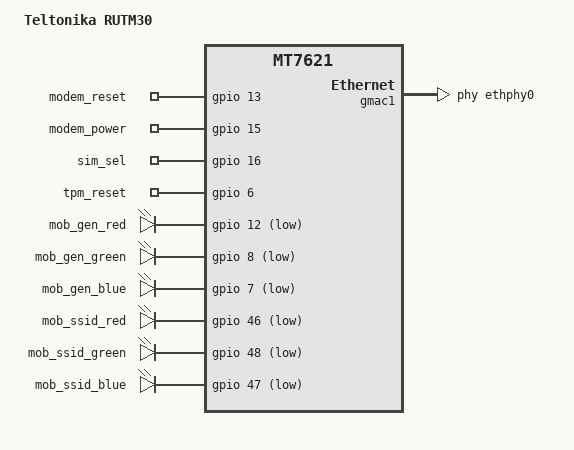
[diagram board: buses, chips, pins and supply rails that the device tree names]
#include "common-mt7621/rutm.dtsi"
#include "common-mt7621/eth/1-lan-port.dtsi"
#include "common-mt7621/tpm.dtsi"

// PWR, RST |G0|G10|
// IN, OUT  |G5|G9|G14|G17|
// ETH      |G41|G42|G43|G45|
// 4G		|G7|G8|G12|G13|G15|G16|G46-G48|
// MISC     |G6|
/ {
	model = "Teltonika RUTM30";

	gpio-export {
		compatible = "gpio-export";
		#size-cells = <0>;

		gpio_modem_reset {
			gpio-export,name = "modem_reset";
			gpio-export,output = <0>;
			gpios = <&gpio 13 GPIO_ACTIVE_HIGH>;
		};

		gpio_modem_power {
			gpio-export,name = "modem_power";
			gpio-export,output = <1>; // tmp
			gpios = <&gpio 15 GPIO_ACTIVE_HIGH>;
		};

		gpio_sim_select {
			gpio-export,name = "sim_sel";
			gpio-export,output = <0>;
			gpios = <&gpio 16 GPIO_ACTIVE_HIGH>;
		};

		gpio_tpm_reset {
			gpio-export,name = "tpm_reset";
			gpio-export,output = <1>;
			gpios = <&gpio 6 GPIO_ACTIVE_HIGH>;
		};
	};

	leds {
		led_gen_red {
			label = "mob_gen_red";
			gpios = <&gpio 12 GPIO_ACTIVE_LOW>;
		};

		led_gen_green {
			label = "mob_gen_green";
			gpios = <&gpio 8 GPIO_ACTIVE_LOW>;
		};

		led_gen_blue {
			label = "mob_gen_blue";
			gpios = <&gpio 7 GPIO_ACTIVE_LOW>;
		};

		led_ssid_red {
			label = "mob_ssid_red";
			gpios = <&gpio 46 GPIO_ACTIVE_LOW>;
			linux,default-trigger = "timer";
		};

		led_ssid_green {
			label = "mob_ssid_green";
			gpios = <&gpio 48 GPIO_ACTIVE_LOW>;
			linux,default-trigger = "timer";
		};

		led_ssid_blue {
			label = "mob_ssid_blue";
			gpios = <&gpio 47 GPIO_ACTIVE_LOW>;
			linux,default-trigger = "timer";
		};
	};

	tlt_gpios {
		gpiochip_info {
			hw_0 {
				gpiochip_count = <3>;
				/delete-property/ gpiochip_3;
			};
		};

		ioman {
			GPIO_5 {
				line_name = "GPIO_OUT_1";
			};
			GPIO_14 {
				line_name = "GPIO_IN_1";
				active_low;
			};
			GPIO_9 {
				line_name = "GPIO_OUT_2";
			};
			GPIO_17 {
				line_name = "GPIO_IN_2";
				active_low;
			};
		};

		misc {
			GPIO_13 {
				line_name = "GPIO_MODEM_RESET_1";
			};
			GPIO_15 {
				line_name = "GPIO_MODEM_POWER_1";
			};
			GPIO_16 {
				line_name = "GPIO_SIM_SELECT";
			};
			GPIO_6 {
				line_name = "GPIO_TPM_RESET";
			};
		};
	};

	ioman {
		layout@0 {
			io@0 { // 4pin #3
				label = "dio0";
				block_type = BLOCK_4PIN;
				block_pin = "3";
				default_direction = "out";
				gpio_in = "GPIO_IN_1";
				gpio_out = "GPIO_OUT_1";
				io_param = "g0";
			};
			io@1 { // 4pin #4
				label = "dio1";
				block_type = BLOCK_4PIN;
				block_pin = "4";
				default_direction = "in";
				gpio_in = "GPIO_IN_2";
				gpio_out = "GPIO_OUT_2";
				io_param = "g1";
			};
		};
	};
};

&mnfinfo {
	sim_cfg {
		default = "1111100_1112000_1121200";
	};
};

&gmac1 {
	phy-handle = <&ethphy0>;
};

&ethphy0 {
	/delete-property/ interrupts;
};
